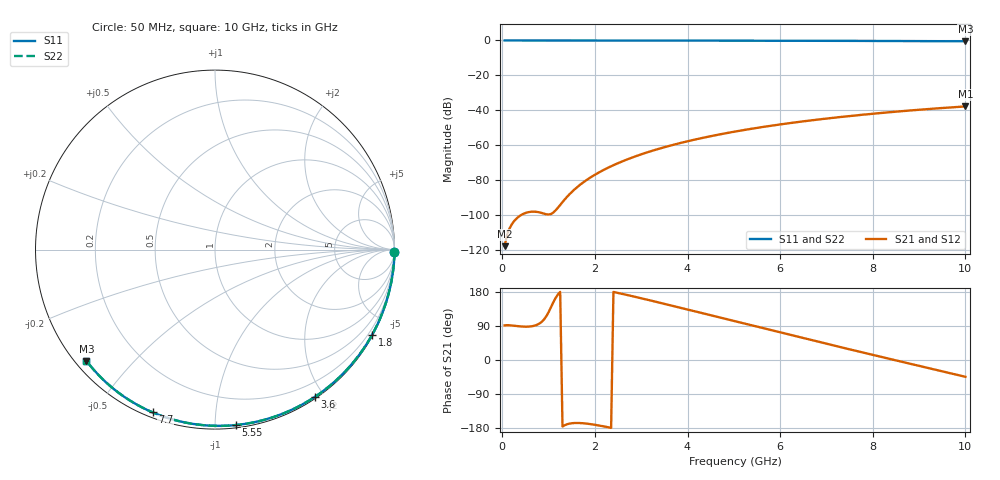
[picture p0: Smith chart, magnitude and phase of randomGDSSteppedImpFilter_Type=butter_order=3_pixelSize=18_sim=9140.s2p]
! freq	dB(S11)	phase(S11)	dB(S12)	phase(S12)
!  dB(S21)	phase(S21)	dB(S22)	phase(S22)
!S-par simulation data
#  GHz  S  DB  R 50
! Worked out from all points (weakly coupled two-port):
!   200 points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, 50 MHz to 10 GHz, reference 50 ohm
!   highest |S21| = -37.85 dB at 10 GHz (marker M1); lowest = -118.0 dB at 50 MHz (marker M2)
!   lowest |S11| = -0.5 dB at 10 GHz (marker M3), VSWR 36.80, Z = 1.55 - j18.6 ohm
!   |S11| at or under -10 dB: nowhere
!   |S22| runs from -0.5 to 0.0 dB; largest |S21 - S12| = 0
!   S11 on the Smith chart (normalised r, x): 50 MHz: open; 1.8 GHz: 0.03, -3.93; 3.6 GHz: 0.02, -1.89; 5.55 GHz: 0.02, -1.13; 7.7 GHz: 0.02, -0.69; 10 GHz: 0.03, -0.37
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0.05  -0.00 -0.8  -118.03 91.2  -118.03 91.2  -0.00 -0.8
0.45  -0.01 -7.2  -99.54 88.1  -99.54 88.1  -0.01 -7.3
0.9  -0.02 -14.4  -99.36 106.8  -99.36 106.8  -0.02 -14.4
1.75  -0.04 -27.8  -81.40 -167.0  -81.40 -167.0  -0.04 -27.8
1.8  -0.04 -28.5  -80.45 -167.6  -80.45 -167.6  -0.04 -28.6
1.85  -0.04 -29.3  -79.54 -168.3  -79.54 -168.3  -0.04 -29.4
2.05  -0.04 -32.4  -76.28 -172.0  -76.28 -172.0  -0.04 -32.4
2.25  -0.05 -35.5  -73.45 -176.6  -73.45 -176.6  -0.05 -35.5
2.55  -0.05 -40.1  -69.82 175.6  -69.82 175.6  -0.05 -40.1
2.95  -0.06 -46.1  -65.78 164.4  -65.78 164.4  -0.06 -46.2
3.4  -0.07 -52.8  -62.00 151.2  -62.00 151.2  -0.07 -52.9
3.6  -0.07 -55.7  -60.52 145.2  -60.52 145.2  -0.08 -55.8
3.9  -0.08 -60.1  -58.48 136.2  -58.48 136.2  -0.08 -60.2
4.3  -0.09 -65.8  -56.04 124.1  -56.04 124.1  -0.09 -65.9
5.05  -0.12 -76.3  -52.15 101.3  -52.15 101.3  -0.12 -76.4
5.55  -0.14 -83.1  -49.95 86.2  -49.95 86.2  -0.14 -83.2
6.1  -0.16 -90.5  -47.80 69.7  -47.80 69.7  -0.16 -90.6
6.7  -0.19 -98.3  -45.75 51.8  -45.75 51.8  -0.19 -98.4
7.7  -0.25 -111.0  -42.82 22.3  -42.82 22.3  -0.25 -111.1
8.35  -0.30 -119.0  -41.20 3.3  -41.20 3.3  -0.31 -119.1
9.2  -0.38 -129.4  -39.34 -21.2  -39.34 -21.2  -0.38 -129.5
10  -0.47 -139.1  -37.85 -44.3  -37.85 -44.3  -0.47 -139.3
